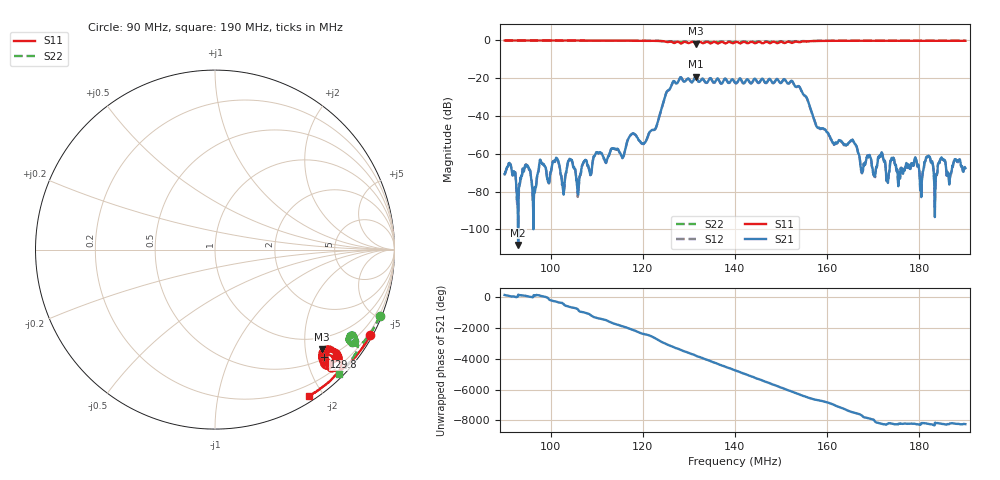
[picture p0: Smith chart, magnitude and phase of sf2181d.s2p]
!SF2181E untune
# HZ S RI R 50
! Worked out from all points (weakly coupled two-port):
!   1601 points, 90 MHz to 190 MHz, reference 50 ohm
!   highest |S21| = -19.23 dB at 131.5 MHz (marker M1); lowest = -108.3 dB at 92.94 MHz (marker M2)
!   lowest |S11| = -1.8 dB at 131.5 MHz (marker M3), VSWR 9.64, Z = 36.1 - j117 ohm
!   |S11| at or under -10 dB: nowhere
!   |S22| runs from -1.1 to -0.1 dB; largest |S21 - S12| = 0.0024
!   S11 on the Smith chart (normalised r, x): 90 MHz: 0.10, -3.89; 129.8 MHz: 0.53, -2.34; 190 MHz: 0.07, -1.83
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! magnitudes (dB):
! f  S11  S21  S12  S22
! 90 MHz  -0.1  -70.8  -71.4  -0.1
! 92.94 MHz  -0.1  -108.3  -108.9  -0.1
! 94.75 MHz  -0.1  -66.0  -66.2  -0.1
! 96.38 MHz  -0.1  -81.1  -80.4  -0.1
! 98 MHz  -0.1  -64.9  -65.0  -0.1
! 99.56 MHz  -0.1  -74.6  -75.0  -0.1
! 101.4 MHz  -0.1  -62.6  -62.7  -0.1
! 102.7 MHz  -0.1  -79.2  -78.6  -0.1
! 104.1 MHz  -0.1  -62.6  -62.7  -0.1
! 106.7 MHz  -0.1  -67.6  -67.8  -0.1
! 123.4 MHz  -0.3  -42.0  -42.0  -0.3
! 126.4 MHz  -1.0  -22.5  -22.6  -0.8
! 129.8 MHz  -1.4  -20.3  -20.4  -1.1
! 131.5 MHz  -1.8  -19.2  -19.3  -1.1
! 140 MHz  -1.1  -22.4  -22.5  -0.7
! 152.3 MHz  -1.4  -21.4  -21.5  -0.9
! 156.7 MHz  -0.4  -38.4  -38.5  -0.4
! 165.8 MHz  -0.2  -53.7  -53.8  -0.2
! 167.6 MHz  -0.2  -69.7  -69.7  -0.2
! 171.6 MHz  -0.2  -61.5  -61.4  -0.2
! 173.4 MHz  -0.2  -70.2  -70.5  -0.2
! 190 MHz  -0.3  -67.7  -68.0  -0.2
